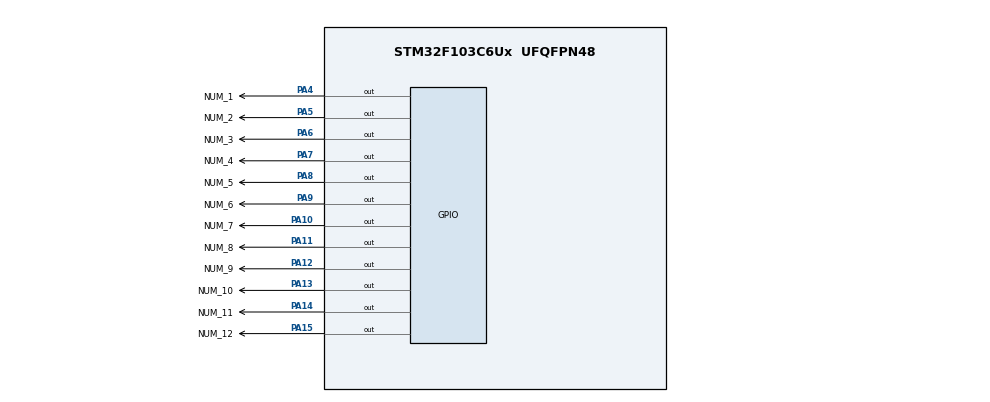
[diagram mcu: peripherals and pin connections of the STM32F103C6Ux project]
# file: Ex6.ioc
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Mcu.Family=STM32F1
Mcu.Name=STM32F103C6Ux
Mcu.Package=UFQFPN48
NVIC.PriorityGroup=NVIC_PRIORITYGROUP_4
PA10.GPIO_Label=NUM_7
PA10.Signal=GPIO_Output
PA11.GPIO_Label=NUM_8
PA11.Signal=GPIO_Output
PA12.GPIO_Label=NUM_9
PA12.Signal=GPIO_Output
PA13.GPIO_Label=NUM_10
PA13.Signal=GPIO_Output
PA14.GPIO_Label=NUM_11
PA14.Signal=GPIO_Output
PA15.GPIO_Label=NUM_12
PA15.Signal=GPIO_Output
PA4.GPIO_Label=NUM_1
PA4.Signal=GPIO_Output
PA5.GPIO_Label=NUM_2
PA5.Signal=GPIO_Output
PA6.GPIO_Label=NUM_3
PA6.Signal=GPIO_Output
PA7.GPIO_Label=NUM_4
PA7.Signal=GPIO_Output
PA8.GPIO_Label=NUM_5
PA8.Signal=GPIO_Output
PA9.GPIO_Label=NUM_6
PA9.Signal=GPIO_Output
ProjectManager.HeapSize=0x200
ProjectManager.StackSize=0x400
ProjectManager.TargetToolchain=STM32CubeIDE
RCC.APB1Freq_Value=8000000
RCC.APB2Freq_Value=8000000
VP_SYS_VS_ND.Mode=No_Debug
board=custom

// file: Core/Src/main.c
/* USER CODE BEGIN Header */
/**
  ******************************************************************************
  * @file           : main.c
  * @brief          : Main program body
  ******************************************************************************
  * @attention
  *
  * <h2><center>&copy; Copyright (c) 2025 STMicroelectronics.
  * All rights reserved.</center></h2>
  *
  * This software component is licensed by ST under BSD 3-Clause license,
  * the "License"; You may not use this file except in compliance with the
  * License. You may obtain a copy of the License at:
  *                        opensource.org/licenses/BSD-3-Clause
  *
  ******************************************************************************
  */
/* USER CODE END Header */
#include "main.h"

void SystemClock_Config(void);
static void MX_GPIO_Init(void);

int main(void)
{

  /* MCU Configuration--------------------------------------------------------*/

  /* Reset of all peripherals, Initializes the Flash interface and the Systick. */
  HAL_Init();

  /* Configure the system clock */
  SystemClock_Config();

  /* Initialize all configured peripherals */
  MX_GPIO_Init();

  /* Infinite loop */
  /* USER CODE BEGIN WHILE */

  while (1)
  {
	  HAL_GPIO_WritePin(NUM_12_GPIO_Port, NUM_12_Pin, GPIO_PIN_SET);
	  HAL_Delay(1000);
	  HAL_GPIO_WritePin(NUM_12_GPIO_Port, NUM_12_Pin, GPIO_PIN_RESET);
	  HAL_Delay(1000);

	  HAL_GPIO_WritePin(NUM_1_GPIO_Port, NUM_1_Pin, GPIO_PIN_SET);
	  HAL_Delay(1000);
	  HAL_GPIO_WritePin(NUM_1_GPIO_Port, NUM_1_Pin, GPIO_PIN_RESET);
	  HAL_Delay(1000);

	  HAL_GPIO_WritePin(NUM_2_GPIO_Port, NUM_2_Pin, GPIO_PIN_SET);
	  HAL_Delay(1000);
	  HAL_GPIO_WritePin(NUM_2_GPIO_Port, NUM_2_Pin, GPIO_PIN_RESET);
	  HAL_Delay(1000);

	  HAL_GPIO_WritePin(NUM_3_GPIO_Port, NUM_3_Pin, GPIO_PIN_SET);
	  HAL_Delay(1000);
	  HAL_GPIO_WritePin(NUM_3_GPIO_Port, NUM_3_Pin, GPIO_PIN_RESET);
	  HAL_Delay(1000);

	  HAL_GPIO_WritePin(NUM_4_GPIO_Port, NUM_4_Pin, GPIO_PIN_SET);
	  HAL_Delay(1000);
	  HAL_GPIO_WritePin(NUM_4_GPIO_Port, NUM_4_Pin, GPIO_PIN_RESET);
	  HAL_Delay(1000);

	  HAL_GPIO_WritePin(NUM_5_GPIO_Port, NUM_5_Pin, GPIO_PIN_SET);
	  HAL_Delay(1000);
	  HAL_GPIO_WritePin(NUM_5_GPIO_Port, NUM_5_Pin, GPIO_PIN_RESET);
	  HAL_Delay(1000);

	  HAL_GPIO_WritePin(NUM_6_GPIO_Port, NUM_6_Pin, GPIO_PIN_SET);
	  HAL_Delay(1000);
	  HAL_GPIO_WritePin(NUM_6_GPIO_Port, NUM_6_Pin, GPIO_PIN_RESET);
	  HAL_Delay(1000);

	  HAL_GPIO_WritePin(NUM_7_GPIO_Port, NUM_7_Pin, GPIO_PIN_SET);
	  HAL_Delay(1000);
	  HAL_GPIO_WritePin(NUM_7_GPIO_Port, NUM_7_Pin, GPIO_PIN_RESET);
	  HAL_Delay(1000);

	  HAL_GPIO_WritePin(NUM_8_GPIO_Port, NUM_8_Pin, GPIO_PIN_SET);
	  HAL_Delay(1000);
	  HAL_GPIO_WritePin(NUM_8_GPIO_Port, NUM_8_Pin, GPIO_PIN_RESET);
	  HAL_Delay(1000);

	  HAL_GPIO_WritePin(NUM_9_GPIO_Port, NUM_9_Pin, GPIO_PIN_SET);
	  HAL_Delay(1000);
	  HAL_GPIO_WritePin(NUM_9_GPIO_Port, NUM_9_Pin, GPIO_PIN_RESET);
	  HAL_Delay(1000);

	  HAL_GPIO_WritePin(NUM_10_GPIO_Port, NUM_10_Pin, GPIO_PIN_SET);
	  HAL_Delay(1000);
	  HAL_GPIO_WritePin(NUM_10_GPIO_Port, NUM_10_Pin, GPIO_PIN_RESET);
	  HAL_Delay(1000);

	  HAL_GPIO_WritePin(NUM_11_GPIO_Port, NUM_11_Pin, GPIO_PIN_SET);
	  HAL_Delay(1000);
	  HAL_GPIO_WritePin(NUM_11_GPIO_Port, NUM_11_Pin, GPIO_PIN_RESET);
	  HAL_Delay(1000);

    /* USER CODE END WHILE */

  }
}

void SystemClock_Config(void)
{
  RCC_OscInitTypeDef RCC_OscInitStruct = {0};
  RCC_ClkInitTypeDef RCC_ClkInitStruct = {0};

  /** Initializes the RCC Oscillators according to the specified parameters
  * in the RCC_OscInitTypeDef structure.
  */
  RCC_OscInitStruct.OscillatorType = RCC_OSCILLATORTYPE_HSI;
  RCC_OscInitStruct.HSIState = RCC_HSI_ON;
  RCC_OscInitStruct.HSICalibrationValue = RCC_HSICALIBRATION_DEFAULT;
  RCC_OscInitStruct.PLL.PLLState = RCC_PLL_NONE;
  if (HAL_RCC_OscConfig(&RCC_OscInitStruct) != HAL_OK)
  {
    Error_Handler();
  }
  /** Initializes the CPU, AHB and APB buses clocks
  */
  RCC_ClkInitStruct.ClockType = RCC_CLOCKTYPE_HCLK|RCC_CLOCKTYPE_SYSCLK
                              |RCC_CLOCKTYPE_PCLK1|RCC_CLOCKTYPE_PCLK2;
  RCC_ClkInitStruct.SYSCLKSource = RCC_SYSCLKSOURCE_HSI;
  RCC_ClkInitStruct.AHBCLKDivider = RCC_SYSCLK_DIV1;
  RCC_ClkInitStruct.APB1CLKDivider = RCC_HCLK_DIV1;
  RCC_ClkInitStruct.APB2CLKDivider = RCC_HCLK_DIV1;

  if (HAL_RCC_ClockConfig(&RCC_ClkInitStruct, FLASH_LATENCY_0) != HAL_OK)
  {
    Error_Handler();
  }
}

static void MX_GPIO_Init(void)
{
  GPIO_InitTypeDef GPIO_InitStruct = {0};

  /* GPIO Ports Clock Enable */
  __HAL_RCC_GPIOA_CLK_ENABLE();

  /*Configure GPIO pin Output Level */
  HAL_GPIO_WritePin(GPIOA, NUM_1_Pin|NUM_2_Pin|NUM_3_Pin|NUM_4_Pin
                          |NUM_5_Pin|NUM_6_Pin|NUM_7_Pin|NUM_8_Pin
                          |NUM_9_Pin|NUM_10_Pin|NUM_11_Pin|NUM_12_Pin, GPIO_PIN_RESET);

  /*Configure GPIO pins : NUM_1_Pin NUM_2_Pin NUM_3_Pin NUM_4_Pin
                           NUM_5_Pin NUM_6_Pin NUM_7_Pin NUM_8_Pin
                           NUM_9_Pin NUM_10_Pin NUM_11_Pin NUM_12_Pin */
  GPIO_InitStruct.Pin = NUM_1_Pin|NUM_2_Pin|NUM_3_Pin|NUM_4_Pin
                          |NUM_5_Pin|NUM_6_Pin|NUM_7_Pin|NUM_8_Pin
                          |NUM_9_Pin|NUM_10_Pin|NUM_11_Pin|NUM_12_Pin;
  GPIO_InitStruct.Mode = GPIO_MODE_OUTPUT_PP;
  GPIO_InitStruct.Pull = GPIO_NOPULL;
  GPIO_InitStruct.Speed = GPIO_SPEED_FREQ_LOW;
  HAL_GPIO_Init(GPIOA, &GPIO_InitStruct);

}

void Error_Handler(void)
{
  __disable_irq();
  while (1)
  {
  }
}

/************************ (C) COPYRIGHT STMicroelectronics *****END OF FILE****/
